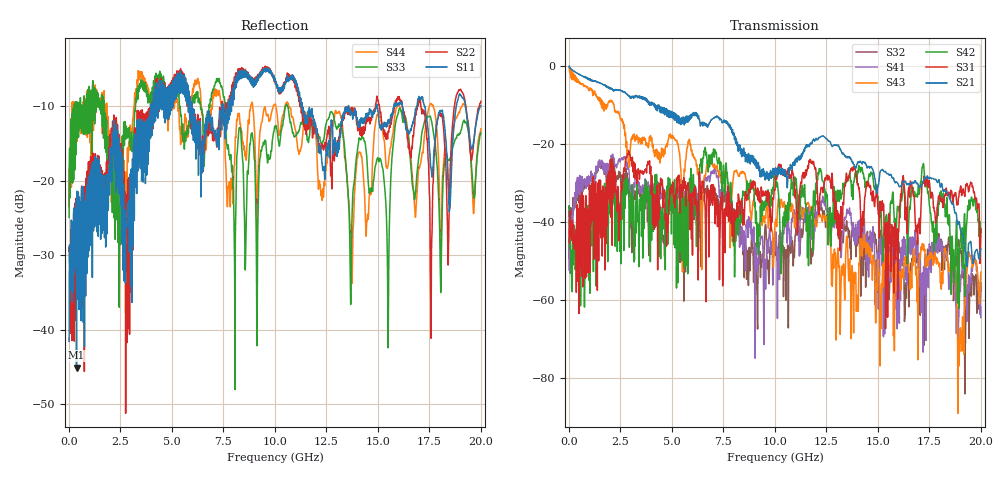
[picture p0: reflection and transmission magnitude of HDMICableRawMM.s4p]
! File created by SignalIntegrity v1.1.13: Signal and Power Integrity Tools
! https://github.com/TeledyneLeCroy/SignalIntegrity
# MHz S MA R 50.0
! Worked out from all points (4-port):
!   4000 points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, 5 MHz to 20 GHz, reference 50 ohm
!   strongest paths, dB at 5 MHz, 5.005 GHz, 10.01 GHz, 15.01 GHz, 20 GHz:
!     S21: -0.1, -13.1, -27.9, -31.0, -47.0
!     S31: -45.4, -32.5, -31.5, -37.0, -41.8
!     S42: -36.5, -30.5, -29.0, -34.3, -41.9
!     S43: -0.4, -18.4, -40.3, -49.8, -52.9
!     S41: -36.0, -34.8, -47.1, -49.9, -64.6
!     S32: -49.3, -36.8, -48.5, -56.0, -55.6
!   lowest |S11| = -45.1 dB at 365 MHz (marker M1), VSWR 1.01, Z = 50.5 + j0.255 ohm
!   |S11| at or under -10 dB: start of sweep to 3.98 GHz; 11.33 GHz to 13.56 GHz (2.239 GHz wide, 18 % of centre); 17.25 GHz to 18.81 GHz (1.555 GHz wide, 8.63 % of centre)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
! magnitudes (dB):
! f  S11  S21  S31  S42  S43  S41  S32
! 5 MHz  -41.6  -0.1  -45.4  -36.5  -0.4  -36.0  -49.3
! 365 MHz  -45.1  -1.8  -47.2  -41.7  -4.2  -30.9  -30.9
! 7.06 GHz  -14.1  -13.2  -31.2  -23.2  -25.2  -26.8  -31.8
! 9.095 GHz  -6.4  -26.0  -32.3  -37.6  -32.1  -46.2  -54.6
! 12.28 GHz  -17.4  -18.1  -31.4  -28.8  -39.2  -35.0  -36.4
! 18.98 GHz  -8.4  -41.0  -32.4  -45.4  -72.3  -56.0  -46.9
! 20 GHz  -10.0  -47.0  -41.8  -41.9  -52.9  -64.6  -55.6
